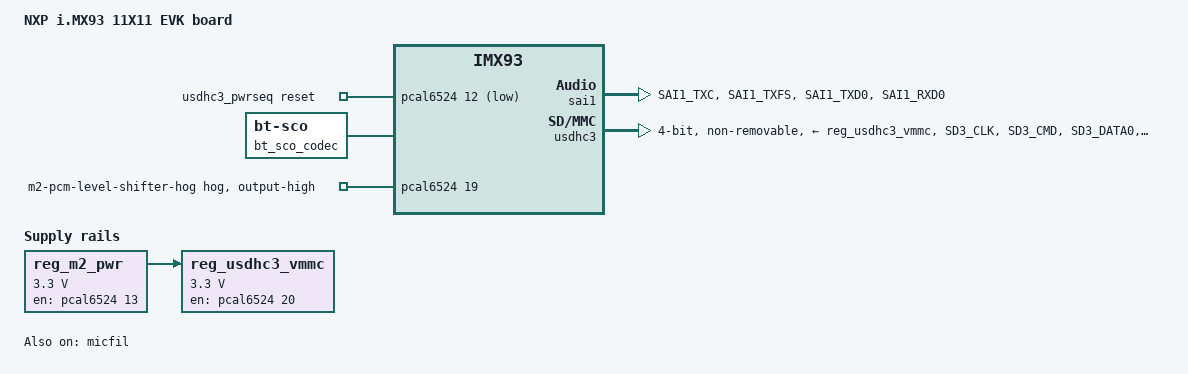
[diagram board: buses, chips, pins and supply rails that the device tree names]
// SPDX-License-Identifier: (GPL-2.0+ OR MIT)
/*
 * Copyright 2022,2026 NXP
 */

/dts-v1/;

#include "imx93.dtsi"
#include "imx93-11x11-evk-common.dtsi"

/ {
	model = "NXP i.MX93 11X11 EVK board";
	compatible = "fsl,imx93-11x11-evk", "fsl,imx93";

	aliases {
		mmc2 = &usdhc3;
	};

	reg_m2_pwr: regulator-m2-pwr {
		compatible = "regulator-fixed";
		regulator-name = "M.2-power";
		regulator-min-microvolt = <3300000>;
		regulator-max-microvolt = <3300000>;
		gpio = <&pcal6524 13 GPIO_ACTIVE_HIGH>;
		enable-active-high;
	};

	reg_usdhc3_vmmc: regulator-usdhc3 {
		compatible = "regulator-fixed";
		regulator-name = "WLAN_EN";
		regulator-min-microvolt = <3300000>;
		regulator-max-microvolt = <3300000>;
		vin-supply = <&reg_m2_pwr>;
		gpio = <&pcal6524 20 GPIO_ACTIVE_HIGH>;
		/*
		 * IW612 wifi chip needs more delay than other wifi chips to complete
		 * the host interface initialization after power up, otherwise the
		 * internal state of IW612 may be unstable, resulting in the failure of
		 * the SDIO3.0 switch voltage.
		 */
		startup-delay-us = <20000>;
		enable-active-high;
	};

	usdhc3_pwrseq: usdhc3_pwrseq {
		compatible = "mmc-pwrseq-simple";
		reset-gpios = <&pcal6524 12 GPIO_ACTIVE_LOW>;
	};

	bt_sco_codec: bt-sco-codec {
		compatible = "linux,bt-sco";
		#sound-dai-cells = <1>;
	};

	sound-bt-sco {
		compatible = "simple-audio-card";
		simple-audio-card,name = "bt-sco-audio";
		simple-audio-card,format = "dsp_a";
		simple-audio-card,bitclock-inversion;
		simple-audio-card,frame-master = <&btcpu>;
		simple-audio-card,bitclock-master = <&btcpu>;

		btcpu: simple-audio-card,cpu {
			sound-dai = <&sai1>;
			dai-tdm-slot-num = <2>;
			dai-tdm-slot-width = <16>;
		};

		simple-audio-card,codec {
			sound-dai = <&bt_sco_codec 1>;
		};
	};

	sound-micfil {
		compatible = "fsl,imx-audio-card";
		model = "micfil-audio";

		pri-dai-link {
			link-name = "micfil hifi";
			format = "i2s";

			cpu {
				sound-dai = <&micfil>;
			};
		};
	};
};

&micfil {
	pinctrl-names = "default", "sleep";
	pinctrl-0 = <&pinctrl_pdm>;
	pinctrl-1 = <&pinctrl_pdm_sleep>;
	assigned-clocks = <&clk IMX93_CLK_PDM>;
	assigned-clock-parents = <&clk IMX93_CLK_AUDIO_PLL>;
	assigned-clock-rates = <49152000>;
	status = "okay";
};

&pcal6524 {
	m2-pcm-level-shifter-hog {
		gpio-hog;
		gpios = <19 GPIO_ACTIVE_HIGH>;
		output-high;
	};
};

&sai1 {
	pinctrl-names = "default", "sleep";
	pinctrl-0 = <&pinctrl_sai1>;
	pinctrl-1 = <&pinctrl_sai1_sleep>;
	assigned-clocks = <&clk IMX93_CLK_SAI1>;
	assigned-clock-parents = <&clk IMX93_CLK_AUDIO_PLL>;
	assigned-clock-rates = <12288000>;
	fsl,sai-mclk-direction-output;
	status = "okay";
};

&usdhc3 {
	pinctrl-names = "default", "state_100mhz", "state_200mhz", "sleep";
	pinctrl-0 = <&pinctrl_usdhc3>, <&pinctrl_usdhc3_wlan>;
	pinctrl-1 = <&pinctrl_usdhc3_100mhz>, <&pinctrl_usdhc3_wlan>;
	pinctrl-2 = <&pinctrl_usdhc3_200mhz>, <&pinctrl_usdhc3_wlan>;
	pinctrl-3 = <&pinctrl_usdhc3_sleep>, <&pinctrl_usdhc3_wlan>;
	mmc-pwrseq = <&usdhc3_pwrseq>;
	vmmc-supply = <&reg_usdhc3_vmmc>;
	bus-width = <4>;
	keep-power-in-suspend;
	non-removable;
	wakeup-source;
	status = "okay";
};

&iomuxc {
	pinctrl_pdm: pdmgrp {
		fsl,pins = <
			MX93_PAD_PDM_CLK__PDM_CLK			0x31e
			MX93_PAD_PDM_BIT_STREAM0__PDM_BIT_STREAM00	0x31e
			MX93_PAD_PDM_BIT_STREAM1__PDM_BIT_STREAM01	0x31e
		>;
	};

	pinctrl_pdm_sleep: pdmsleepgrp {
		fsl,pins = <
			MX93_PAD_PDM_CLK__GPIO1_IO08			0x31e
			MX93_PAD_PDM_BIT_STREAM0__GPIO1_IO09		0x31e
			MX93_PAD_PDM_BIT_STREAM1__GPIO1_IO10		0x31e
		>;
	};

	pinctrl_sai1: sai1grp {
		fsl,pins = <
			MX93_PAD_SAI1_TXC__SAI1_TX_BCLK			0x31e
			MX93_PAD_SAI1_TXFS__SAI1_TX_SYNC		0x31e
			MX93_PAD_SAI1_TXD0__SAI1_TX_DATA00		0x31e
			MX93_PAD_SAI1_RXD0__SAI1_RX_DATA00		0x31e
		>;
	};

	pinctrl_sai1_sleep: sai1sleepgrp {
		fsl,pins = <
			MX93_PAD_SAI1_TXC__GPIO1_IO12                   0x51e
			MX93_PAD_SAI1_TXFS__GPIO1_IO11			0x51e
			MX93_PAD_SAI1_TXD0__GPIO1_IO13			0x51e
			MX93_PAD_SAI1_RXD0__GPIO1_IO14			0x51e
		>;
	};

	/* need to config the SION for data and cmd pad, refer to ERR052021 */
	pinctrl_usdhc3: usdhc3grp {
		fsl,pins = <
			MX93_PAD_SD3_CLK__USDHC3_CLK		0x1582
			MX93_PAD_SD3_CMD__USDHC3_CMD		0x40001382
			MX93_PAD_SD3_DATA0__USDHC3_DATA0	0x40001382
			MX93_PAD_SD3_DATA1__USDHC3_DATA1	0x40001382
			MX93_PAD_SD3_DATA2__USDHC3_DATA2	0x40001382
			MX93_PAD_SD3_DATA3__USDHC3_DATA3	0x40001382
		>;
	};

	/* need to config the SION for data and cmd pad, refer to ERR052021 */
	pinctrl_usdhc3_100mhz: usdhc3-100mhzgrp {
		fsl,pins = <
			MX93_PAD_SD3_CLK__USDHC3_CLK		0x158e
			MX93_PAD_SD3_CMD__USDHC3_CMD		0x4000138e
			MX93_PAD_SD3_DATA0__USDHC3_DATA0	0x4000138e
			MX93_PAD_SD3_DATA1__USDHC3_DATA1	0x4000138e
			MX93_PAD_SD3_DATA2__USDHC3_DATA2	0x4000138e
			MX93_PAD_SD3_DATA3__USDHC3_DATA3	0x4000138e
		>;
	};

	/* need to config the SION for data and cmd pad, refer to ERR052021 */
	pinctrl_usdhc3_200mhz: usdhc3-200mhzgrp {
		fsl,pins = <
			MX93_PAD_SD3_CLK__USDHC3_CLK		0x15fe
			MX93_PAD_SD3_CMD__USDHC3_CMD		0x400013fe
			MX93_PAD_SD3_DATA0__USDHC3_DATA0	0x400013fe
			MX93_PAD_SD3_DATA1__USDHC3_DATA1	0x400013fe
			MX93_PAD_SD3_DATA2__USDHC3_DATA2	0x400013fe
			MX93_PAD_SD3_DATA3__USDHC3_DATA3	0x400013fe
		>;
	};

	pinctrl_usdhc3_sleep: usdhc3grpsleepgrp {
		fsl,pins = <
			MX93_PAD_SD3_CLK__GPIO3_IO20		0x31e
			MX93_PAD_SD3_CMD__GPIO3_IO21		0x31e
			MX93_PAD_SD3_DATA0__GPIO3_IO22		0x31e
			MX93_PAD_SD3_DATA1__GPIO3_IO23		0x31e
			MX93_PAD_SD3_DATA2__GPIO3_IO24		0x31e
			MX93_PAD_SD3_DATA3__GPIO3_IO25		0x31e
		>;
	};

	pinctrl_usdhc3_wlan: usdhc3wlangrp {
		fsl,pins = <
			MX93_PAD_CCM_CLKO1__GPIO3_IO26		0x31e
		>;
	};
};
